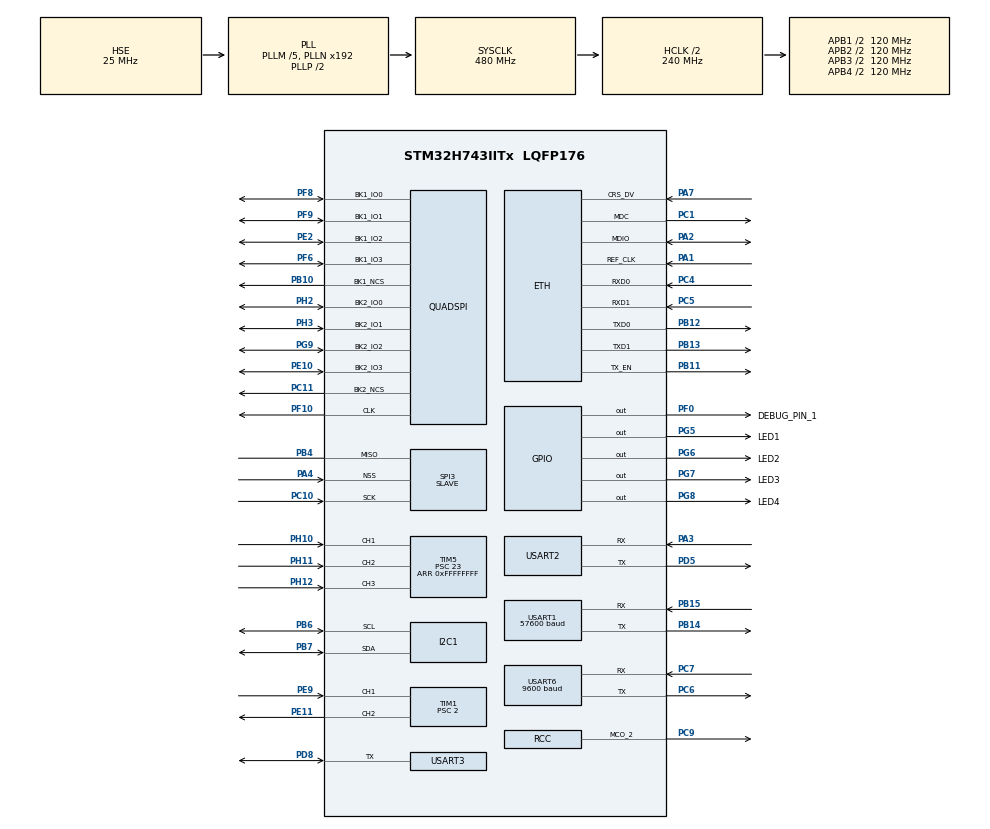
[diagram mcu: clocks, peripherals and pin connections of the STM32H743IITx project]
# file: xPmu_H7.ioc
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CORTEX_M7.AccessPermission-Cortex_Memory_Protection_Unit_Region0_Settings=MPU_REGION_FULL_ACCESS
CORTEX_M7.AccessPermission-Cortex_Memory_Protection_Unit_Region1_Settings=MPU_REGION_FULL_ACCESS
CORTEX_M7.AccessPermission-Cortex_Memory_Protection_Unit_Region2_Settings=MPU_REGION_FULL_ACCESS
CORTEX_M7.BaseAddress-Cortex_Memory_Protection_Unit_Region0_Settings=0x30040000
CORTEX_M7.BaseAddress-Cortex_Memory_Protection_Unit_Region1_Settings=0x30044000
CORTEX_M7.BaseAddress-Cortex_Memory_Protection_Unit_Region2_Settings=0x30040000
CORTEX_M7.CPU_DCache=Enabled
CORTEX_M7.CPU_ICache=Enabled
CORTEX_M7.Enable-Cortex_Memory_Protection_Unit_Region0_Settings=MPU_REGION_ENABLE
CORTEX_M7.Enable-Cortex_Memory_Protection_Unit_Region1_Settings=MPU_REGION_ENABLE
CORTEX_M7.Enable-Cortex_Memory_Protection_Unit_Region2_Settings=MPU_REGION_ENABLE
CORTEX_M7.IsBufferable-Cortex_Memory_Protection_Unit_Region2_Settings=MPU_ACCESS_BUFFERABLE
CORTEX_M7.IsCacheable-Cortex_Memory_Protection_Unit_Region1_Settings=MPU_ACCESS_CACHEABLE
CORTEX_M7.IsCacheable-Cortex_Memory_Protection_Unit_Region2_Settings=MPU_ACCESS_NOT_CACHEABLE
CORTEX_M7.MPU_Control=MPU_PRIVILEGED_DEFAULT
CORTEX_M7.Size-Cortex_Memory_Protection_Unit_Region0_Settings=MPU_REGION_SIZE_16KB
CORTEX_M7.Size-Cortex_Memory_Protection_Unit_Region1_Settings=MPU_REGION_SIZE_16KB
CORTEX_M7.Size-Cortex_Memory_Protection_Unit_Region2_Settings=MPU_REGION_SIZE_256B
CORTEX_M7.TypeExtField-Cortex_Memory_Protection_Unit_Region0_Settings=MPU_TEX_LEVEL1
Dma.Request0=SPI3_RX
Dma.SPI3_RX.0.Direction=DMA_PERIPH_TO_MEMORY
Dma.SPI3_RX.0.EventEnable=DISABLE
Dma.SPI3_RX.0.FIFOMode=DMA_FIFOMODE_DISABLE
Dma.SPI3_RX.0.Instance=DMA1_Stream0
Dma.SPI3_RX.0.MemDataAlignment=DMA_MDATAALIGN_HALFWORD
Dma.SPI3_RX.0.MemInc=DMA_MINC_ENABLE
Dma.SPI3_RX.0.Mode=DMA_CIRCULAR
Dma.SPI3_RX.0.PeriphDataAlignment=DMA_PDATAALIGN_HALFWORD
Dma.SPI3_RX.0.PeriphInc=DMA_PINC_DISABLE
Dma.SPI3_RX.0.Polarity=HAL_DMAMUX_REQ_GEN_RISING
Dma.SPI3_RX.0.Priority=DMA_PRIORITY_LOW
Dma.SPI3_RX.0.RequestNumber=1
Dma.SPI3_RX.0.SignalID=NONE
Dma.SPI3_RX.0.SyncEnable=DISABLE
Dma.SPI3_RX.0.SyncPolarity=HAL_DMAMUX_SYNC_NO_EVENT
Dma.SPI3_RX.0.SyncRequestNumber=1
Dma.SPI3_RX.0.SyncSignalID=NONE
ETH.MACAddr=6C\:4C\:AD\:6B\:48\:DC
ETH.MediaInterface=HAL_ETH_RMII_MODE
I2C1.Timing=0x307075B1
LWIP.BSP.number=1
LWIP.CHECKSUM_BY_HARDWARE=1
LWIP.CMSIS_VERSION-Enabled=1
LWIP.GATEWAY_ADDRESS=192.168.001.001
LWIP.IP_ADDRESS=192.168.001.150
LWIP.LWIP_DHCP=1
LWIP.LWIP_NETIF_LOOPBACK=0
LWIP.MEM_SIZE=4800
LWIP.NETMASK_ADDRESS=255.255.255.000
LWIP.Version=v2.1.2_Cube
LWIP0.BSP.STBoard=false
LWIP0.BSP.api=BSP_COMPONENT_DRIVER
LWIP0.BSP.component=LAN8742
LWIP0.BSP.i2caddr=0
LWIP0.BSP.instance=LAN8742
LWIP0.BSP.name=Driver_PHY
LWIP0.BSP.solution=LAN8742
Mcu.Family=STM32H7
Mcu.Name=STM32H743IITx
Mcu.Package=LQFP176
NVIC.DMA1_Stream0_IRQn=true\:0\:0\:false\:false\:true\:false\:true
NVIC.ETH_IRQn=true\:0\:0\:false\:false\:true\:true\:true
NVIC.PriorityGroup=NVIC_PRIORITYGROUP_4
NVIC.SPI3_IRQn=true\:0\:0\:false\:false\:true\:false\:true
NVIC.TIM5_IRQn=true\:0\:0\:false\:false\:true\:true\:true
NVIC.TIM7_IRQn=true\:0\:0\:false\:false\:true\:false\:true
NVIC.TimeBase=TIM7_IRQn
NVIC.TimeBaseIP=TIM7
PA1.GPIO_Speed=GPIO_SPEED_FREQ_VERY_HIGH
PA1.Mode=RMII
PA1.Signal=ETH_REF_CLK
PA13\ (JTMS/SWDIO).Mode=Trace_Asynchronous_SW
PA13\ (JTMS/SWDIO).Signal=DEBUG_JTMS-SWDIO
PA14\ (JTCK/SWCLK).Mode=Trace_Asynchronous_SW
PA14\ (JTCK/SWCLK).Signal=DEBUG_JTCK-SWCLK
PA2.GPIO_Speed=GPIO_SPEED_FREQ_VERY_HIGH
PA2.Mode=RMII
PA2.Signal=ETH_MDIO
PA3.Mode=Asynchronous
PA3.Signal=USART2_RX
PA4.Mode=NSS_Signal_Hard_Input
PA4.Signal=SPI3_NSS
PA7.GPIO_Speed=GPIO_SPEED_FREQ_VERY_HIGH
PA7.Mode=RMII
PA7.Signal=ETH_CRS_DV
PB10.Mode=Enable Chip Select for each bank
PB10.Signal=QUADSPI_BK1_NCS
PB11.GPIO_Speed=GPIO_SPEED_FREQ_VERY_HIGH
PB11.Mode=RMII
PB11.Signal=ETH_TX_EN
PB12.GPIO_Speed=GPIO_SPEED_FREQ_VERY_HIGH
PB12.Mode=RMII
PB12.Signal=ETH_TXD0
PB13.GPIO_Speed=GPIO_SPEED_FREQ_VERY_HIGH
PB13.Mode=RMII
PB13.Signal=ETH_TXD1
PB14.Mode=Asynchronous
PB14.Signal=USART1_TX
PB15.Mode=Asynchronous
PB15.Signal=USART1_RX
PB3\ (JTDO/TRACESWO).Mode=Trace_Asynchronous_SW
PB3\ (JTDO/TRACESWO).Signal=DEBUG_JTDO-SWO
PB4\ (NJTRST).Mode=Simplex_Bidirectional_Slave
PB4\ (NJTRST).Signal=SPI3_MISO
PB6.Mode=I2C
PB6.Signal=I2C1_SCL
PB7.Mode=I2C
PB7.Signal=I2C1_SDA
PC1.GPIO_Speed=GPIO_SPEED_FREQ_VERY_HIGH
PC1.Mode=RMII
PC1.Signal=ETH_MDC
PC10.Mode=Simplex_Bidirectional_Slave
PC10.Signal=SPI3_SCK
PC11.Mode=Enable Chip Select for each bank
PC11.Signal=QUADSPI_BK2_NCS
PC4.GPIO_Speed=GPIO_SPEED_FREQ_VERY_HIGH
PC4.Mode=RMII
PC4.Signal=ETH_RXD0
PC5.GPIO_Speed=GPIO_SPEED_FREQ_VERY_HIGH
PC5.Mode=RMII
PC5.Signal=ETH_RXD1
PC6.Mode=Asynchronous
PC6.Signal=USART6_TX
PC7.Mode=Asynchronous
PC7.Signal=USART6_RX
PC9.GPIO_Speed=GPIO_SPEED_FREQ_VERY_HIGH
PC9.Mode=Clock-out-2
PC9.Signal=RCC_MCO_2
PD5.Mode=Asynchronous
PD5.Signal=USART2_TX
PD8.Mode=Half_duplex(single_wire_mode)
PD8.Signal=USART3_TX
PE10.Mode=Dual_Bank
PE10.Signal=QUADSPI_BK2_IO3
PE11.Signal=S_TIM1_CH2
PE2.Mode=Dual_Bank
PE2.Signal=QUADSPI_BK1_IO2
PE9.Signal=S_TIM1_CH1
PF0.GPIO_Label=DEBUG_PIN_1
PF0.GPIO_Speed=GPIO_SPEED_FREQ_VERY_HIGH
PF0.Signal=GPIO_Output
PF10.Mode=Dual_Bank
PF10.Signal=QUADSPI_CLK
PF6.Mode=Dual_Bank
PF6.Signal=QUADSPI_BK1_IO3
PF8.Mode=Dual_Bank
PF8.Signal=QUADSPI_BK1_IO0
PF9.Mode=Dual_Bank
PF9.Signal=QUADSPI_BK1_IO1
PG5.GPIO_Label=LED1
PG5.Signal=GPIO_Output
PG6.GPIO_Label=LED2
PG6.Signal=GPIO_Output
PG7.GPIO_Label=LED3
PG7.Signal=GPIO_Output
PG8.GPIO_Label=LED4
PG8.Signal=GPIO_Output
PG9.Mode=Dual_Bank
PG9.Signal=QUADSPI_BK2_IO2
PH0-OSC_IN\ (PH0).Mode=HSE-External-Oscillator
PH0-OSC_IN\ (PH0).Signal=RCC_OSC_IN
PH1-OSC_OUT\ (PH1).Mode=HSE-External-Oscillator
PH1-OSC_OUT\ (PH1).Signal=RCC_OSC_OUT
PH10.Signal=S_TIM5_CH1
PH11.Signal=S_TIM5_CH2
PH12.Signal=S_TIM5_CH3
PH2.Mode=Dual_Bank
PH2.Signal=QUADSPI_BK2_IO0
PH3.Mode=Dual_Bank
PH3.Signal=QUADSPI_BK2_IO1
ProjectManager.HeapSize=0x1000
ProjectManager.StackSize=0x2000
ProjectManager.TargetToolchain=STM32CubeIDE
RCC.ADCFreq_Value=50000000
RCC.APB1Freq_Value=120000000
RCC.APB2Freq_Value=120000000
RCC.APB3Freq_Value=120000000
RCC.APB4Freq_Value=120000000
RCC.CortexFreq_Value=480000000
RCC.D1PPRE=RCC_APB3_DIV2
RCC.D2PPRE1=RCC_APB1_DIV2
RCC.D2PPRE2=RCC_APB2_DIV2
RCC.D3PPRE=RCC_APB4_DIV2
RCC.DIVM1=5
RCC.DIVM2=5
RCC.DIVN1=192
RCC.DIVN2=100
RCC.DIVP2=10
RCC.DIVQ2=4
RCC.DIVR2=8
RCC.HCLKFreq_Value=240000000
RCC.HPRE=RCC_HCLK_DIV2
RCC.PLL2FRACN=0
RCC.PLL3FRACN=0
RCC.PLLFRACN=0
RCC.PLLSourceVirtual=RCC_PLLSOURCE_HSE
RCC.RCC_MCO1Source=RCC_MCO1SOURCE_PLL1QCLK
RCC.RCC_MCO2Source=RCC_MCO2SOURCE_PLL2PCLK
RCC.SYSCLKFreq_VALUE=480000000
RCC.SYSCLKSource=RCC_SYSCLKSOURCE_PLLCLK
RCC.USART234578CLockSelection=RCC_USART234578CLKSOURCE_PLL2
RCC.USBFreq_Value=480000000
SH.S_TIM1_CH1.0=TIM1_CH1,TriggerSource_TI1FP1
SH.S_TIM1_CH1.1=TIM1_CH1,Input_Capture1_from_TI1
SH.S_TIM1_CH2.0=TIM1_CH2,PWM Generation2 CH2
SH.S_TIM5_CH1.0=TIM5_CH1,Input_Capture1_from_TI1
SH.S_TIM5_CH1.1=TIM5_CH1,TriggerSource_TI1FP1
SH.S_TIM5_CH2.0=TIM5_CH2,Input_Capture2_from_TI2
SH.S_TIM5_CH3.0=TIM5_CH3,Input_Capture3_from_TI3
SPI3.CLKPolarity=SPI_POLARITY_HIGH
SPI3.DataSize=SPI_DATASIZE_16BIT
SPI3.Direction=SPI_DIRECTION_1LINE
SPI3.Mode=SPI_MODE_SLAVE
SPI3.VirtualNSS=VM_NSSHARD
SPI3.VirtualType=VM_SLAVE
TIM1.Channel-Input_Capture1_from_TI1=TIM_CHANNEL_1
TIM1.Channel-PWM\ Generation2\ CH2=TIM_CHANNEL_2
TIM1.ICFilter_CH1=6
TIM1.OCIdleState_2=TIM_OCIDLESTATE_SET
TIM1.OCPolarity_2=TIM_OCPOLARITY_LOW
TIM1.Period=0xFFFF
TIM1.Prescaler=2
TIM1.Pulse-PWM\ Generation2\ CH2=2500
TIM5.Channel-Input_Capture1_from_TI1=TIM_CHANNEL_1
TIM5.Channel-Input_Capture2_from_TI2=TIM_CHANNEL_2
TIM5.Channel-Input_Capture3_from_TI3=TIM_CHANNEL_3
TIM5.Period=0xFFFFFFFF
TIM5.Prescaler=23
USART1.BaudRate=57600
USART1.VirtualMode-Asynchronous=VM_ASYNC
USART2.VirtualMode-Asynchronous=VM_ASYNC
USART3.VirtualMode-Half_duplex(single_wire_mode)=VM_ASYNC
USART6.BaudRate=9600
USART6.VirtualMode-Asynchronous=VM_ASYNC
VP_LWIP_VS_Enabled.Mode=Enabled
VP_SYS_VS_tim7.Mode=TIM7
VP_TIM1_VS_ClockSourceINT.Mode=Internal
VP_TIM1_VS_ControllerModeReset.Mode=Reset Mode
VP_TIM5_VS_ClockSourceINT.Mode=Internal
VP_TIM5_VS_ControllerModeReset.Mode=Reset Mode
board=custom

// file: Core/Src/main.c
/* USER CODE BEGIN Header */
/**
  ******************************************************************************
  * @file           : main.c
  * @brief          : Main program body
  ******************************************************************************
  * @attention
  *
  * <h2><center>&copy; Copyright (c) 2020 STMicroelectronics.
  * All rights reserved.</center></h2>
  *
  * This software component is licensed by ST under BSD 3-Clause license,
  * the "License"; You may not use this file except in compliance with the
  * License. You may obtain a copy of the License at:
  *                        opensource.org/licenses/BSD-3-Clause
  *
  ******************************************************************************
  */
/* USER CODE END Header */
#include "main.h"
#include "dma.h"
#include "i2c.h"
#include "lwip.h"
#include "quadspi.h"
#include "spi.h"
#include "tim.h"
#include "usart.h"
#include "gpio.h"

/* USER CODE BEGIN Includes */
#include "les_algorithm.h"

#include "decimation_filter.h"
#include "deci_filter_correction_header.h"

#include <string.h>
/* USER CODE END Includes */

/* USER CODE BEGIN PV */

// ADC DMA Circular buffer
#define DMA_SAMPLE_BUFFER_LENGTH (16*8)
uint32_t adc_dma_buffer[DMA_SAMPLE_BUFFER_LENGTH] __attribute__((section(".AdcDmaBufSection"))); // Note this must be aligned on a 32byte boundary so we can invalidate the cache lines.

// ADC Main Circular Buffer
#define MAIN_SAMPLE_BUFFER_LENGTH (2048) // samples - 32bit ints
int32_t main_sample_buffer[8][MAIN_SAMPLE_BUFFER_LENGTH];// __attribute__((section(".ccmram-samplebuffer"))) ;

volatile uint32_t main_sample_buffer_head = 0;

volatile uint8_t f_buffer_loop = 0;
volatile uint8_t f_run_main_loop = 0;
volatile uint8_t f_reporting_cycle = 0;

volatile int32_t les_count = 0;
les_fundamental_output_t les_fundamental_output;
les_harmonics_output_t les_harmonics_output;

struct udp_pcb* upcb;

volatile uint32_t pps_timer_capture = 0;

/* USER CODE END PV */

void SystemClock_Config(void);
static void MPU_Config(void);

/* USER CODE BEGIN 0 */
extern ETH_HandleTypeDef heth;

void start_adc_dma_reception(void){

	// wait to go low
	while((GPIOA->IDR & GPIO_PIN_4))
		  ;
	HAL_GPIO_WritePin(DEBUG_PIN_1_GPIO_Port, DEBUG_PIN_1_Pin,SET);

	// wait to go high again
	while(!(GPIOA->IDR & GPIO_PIN_4))
		  ;
	HAL_GPIO_WritePin(DEBUG_PIN_1_GPIO_Port, DEBUG_PIN_1_Pin,RESET);

	  do {
		  hspi3.Instance->RXDR;
	  } while(__HAL_SPI_GET_FLAG(&hspi3, SPI_FLAG_RXNE) != RESET);

	HAL_SPI_Receive_DMA(&hspi3, (uint8_t*)adc_dma_buffer, 2*DMA_SAMPLE_BUFFER_LENGTH);
}

void dump_main_buffer(void){
	HAL_SPI_DMAStop(&hspi3);
	__NOP();
//	  uint8_t data[128];
//	  char* ptr = (char*)(data);
//	  for(int a = 0; a <sizeof(data); a++)
//		  ptr[a] = a;

	struct pbuf* p;

	uint16_t sample_size = MAIN_SAMPLE_BUFFER_LENGTH * sizeof(int32_t);
	uint16_t no_transmits = sample_size / 1024;

	uint8_t startMsg[] = {0xFF, 0xAA};
	uint8_t stopMsg[] = {0x55, 0x55};

	// Send the start sequence
	p = pbuf_alloc(PBUF_TRANSPORT, 2, PBUF_RAM);
	memcpy(p->payload, &startMsg, 2);
	udp_send(upcb, p);
	pbuf_free(p);

	// Send the main data
	for(int i = 0; i < no_transmits; i++){
		p = pbuf_alloc(PBUF_TRANSPORT, 1024, PBUF_RAM);
		memcpy(p->payload, ((uint8_t*)(main_sample_buffer[5])) + i*1024, 1024);
		udp_send(upcb, p);
		pbuf_free(p);
	}

	// Send the end sequence
	p = pbuf_alloc(PBUF_TRANSPORT, 2, PBUF_RAM);
	memcpy(p->payload, &stopMsg, 2);
	udp_send(upcb, p);
	pbuf_free(p);

	start_adc_dma_reception();
}

void cpy_buffer_int32(uint8_t* buffer, int32_t value){
	buffer[0] = (value >> 24) & 0xFF;
	buffer[1] = (value >> 16) & 0xFF;
	buffer[2] = (value >> 8) & 0xFF;
	buffer[3] = value & 0xFF;
}

void send_les_value(les_fundamental_output_t *fundamental_value, les_harmonics_output_t* harmonics_value){
	struct pbuf* p;

	uint8_t buffer[12 + 32];
	cpy_buffer_int32(buffer, fundamental_value->frequency);
	cpy_buffer_int32(buffer+4, fundamental_value->fundamental_mag[0]);
	cpy_buffer_int32(buffer+8, fundamental_value->phase[0]);

	for(uint8_t i=0; i<8; i++){
		cpy_buffer_int32(buffer+12+(4*i), harmonics_value->harmonic_mag[i]);
	}

	p = pbuf_alloc(PBUF_TRANSPORT, sizeof(buffer), PBUF_RAM);
	memcpy(p->payload, buffer, sizeof(buffer));
	udp_send(upcb, p);
	pbuf_free(p);

}

void HAL_TIM_IC_CaptureCallback(TIM_HandleTypeDef *htim){
	if(htim == &htim5){
		pps_timer_capture = htim5.Instance->CCR1;
	}
}

/* USER CODE END 0 */

int main(void)
{

  /* MPU Configuration--------------------------------------------------------*/
  MPU_Config();

  /* Enable I-Cache---------------------------------------------------------*/
  SCB_EnableICache();

  /* Enable D-Cache---------------------------------------------------------*/
  SCB_EnableDCache();

  /* MCU Configuration--------------------------------------------------------*/

  /* Reset of all peripherals, Initializes the Flash interface and the Systick. */
  HAL_Init();

  /* Configure the system clock */
  SystemClock_Config();

  /* USER CODE BEGIN SysInit */
  __HAL_RCC_PLL2_DISABLE();
  __HAL_RCC_PLL2CLKOUT_ENABLE(RCC_PLL2_DIVP);
  __HAL_RCC_PLL2_ENABLE();
  HAL_Delay(100);

  /* USER CODE END SysInit */

  /* Initialize all configured peripherals */
  MX_GPIO_Init();
  MX_DMA_Init();
  MX_TIM1_Init();
  MX_TIM5_Init();
  MX_QUADSPI_Init();
  MX_SPI3_Init();
  MX_USART1_UART_Init();
  MX_USART2_UART_Init();
  MX_USART3_UART_Init();
  MX_I2C1_Init();
  MX_USART6_UART_Init();
  MX_LWIP_Init();
  /* USER CODE BEGIN 2 */
//  ETH_MACFilterConfigTypeDef filterConfig;
//  HAL_ETH_GetMACFilterConfig(&heth, &filterConfig);
//  filterConfig.BroadcastFilter = DISABLE;
//  filterConfig.PromiscuousMode = ENABLE;
//  HAL_ETH_SetMACFilterConfig(&heth, &filterConfig);
//  HAL_ETH_GetMACFilterConfig(&heth, &filterConfig);

// From the timer testing
  HAL_TIM_PWM_Start(&htim1,TIM_CHANNEL_2);
  htim1.Instance->CCER |= 0x0001; // Set the CC1E Bit

  HAL_TIM_IC_Start_IT(&htim5, TIM_CHANNEL_1);

  /* USER CODE END 2 */

  /* Infinite loop */
  /* USER CODE BEGIN WHILE */

  HAL_Delay(10);
  start_adc_dma_reception();

  /* USER CODE END 2 */

  /* Infinite loop */
  /* USER CODE BEGIN WHILE */

  // Allocate the pcb for the UDP transfers.
  	upcb = udp_new();
	ip_addr_t destAddr;
	IP4_ADDR(&destAddr, 192, 168, 1, 99);
	uint16_t destprt = 60001;

	udp_connect(upcb, &destAddr, destprt);

  // Initialise the LES filters
  les_init();

//  uint16_t buffer_count = 0;
  while (1)
  {
		MX_LWIP_Process();

//		if(f_buffer_loop){
//			f_buffer_loop = 0;
//			buffer_count++;
//			if(buffer_count > 10){
//				dump_main_buffer();
//				buffer_count = 0;
//			}
//		}
		/* The LES algorithm */
		if(f_run_main_loop){
			f_run_main_loop = 0;

			if(f_reporting_cycle){

				HAL_GPIO_WritePin(DEBUG_PIN_1_GPIO_Port, DEBUG_PIN_1_Pin, RESET);

				if(les_calculate_harmonics(&les_harmonics_output)){
					__NOP();
					// Need to ignore the output since it wasn't calculated.
				}

				// Correct for attenuation through the biquad filters
				for(uint8_t i=0; i<8; i++){
					les_harmonics_output.harmonic_mag[i] = deci_correct_harmonic_mag(les_harmonics_output.harmonic_mag[i], i+1);
				}
				les_fundamental_output.fundamental_mag[0] = deci_correct_harmonic_mag(les_fundamental_output.fundamental_mag[0], 0);

				send_les_value(&les_fundamental_output, &les_harmonics_output);

				HAL_GPIO_WritePin(DEBUG_PIN_1_GPIO_Port, DEBUG_PIN_1_Pin, SET);
			}

		}

    /* USER CODE END WHILE */

  }
}

void SystemClock_Config(void)
{
  RCC_OscInitTypeDef RCC_OscInitStruct = {0};
  RCC_ClkInitTypeDef RCC_ClkInitStruct = {0};
  RCC_PeriphCLKInitTypeDef PeriphClkInitStruct = {0};

  /** Supply configuration update enable
  */
  HAL_PWREx_ConfigSupply(PWR_LDO_SUPPLY);
  /** Configure the main internal regulator output voltage
  */
  __HAL_PWR_VOLTAGESCALING_CONFIG(PWR_REGULATOR_VOLTAGE_SCALE0);

  while(!__HAL_PWR_GET_FLAG(PWR_FLAG_VOSRDY)) {}
  /** Macro to configure the PLL clock source
  */
  __HAL_RCC_PLL_PLLSOURCE_CONFIG(RCC_PLLSOURCE_HSE);
  /** Initializes the RCC Oscillators according to the specified parameters
  * in the RCC_OscInitTypeDef structure.
  */
  RCC_OscInitStruct.OscillatorType = RCC_OSCILLATORTYPE_HSE;
  RCC_OscInitStruct.HSEState = RCC_HSE_ON;
  RCC_OscInitStruct.PLL.PLLState = RCC_PLL_ON;
  RCC_OscInitStruct.PLL.PLLSource = RCC_PLLSOURCE_HSE;
  RCC_OscInitStruct.PLL.PLLM = 5;
  RCC_OscInitStruct.PLL.PLLN = 192;
  RCC_OscInitStruct.PLL.PLLP = 2;
  RCC_OscInitStruct.PLL.PLLQ = 2;
  RCC_OscInitStruct.PLL.PLLR = 2;
  RCC_OscInitStruct.PLL.PLLRGE = RCC_PLL1VCIRANGE_2;
  RCC_OscInitStruct.PLL.PLLVCOSEL = RCC_PLL1VCOWIDE;
  RCC_OscInitStruct.PLL.PLLFRACN = 0;
  if (HAL_RCC_OscConfig(&RCC_OscInitStruct) != HAL_OK)
  {
    Error_Handler();
  }
  /** Initializes the CPU, AHB and APB buses clocks
  */
  RCC_ClkInitStruct.ClockType = RCC_CLOCKTYPE_HCLK|RCC_CLOCKTYPE_SYSCLK
                              |RCC_CLOCKTYPE_PCLK1|RCC_CLOCKTYPE_PCLK2
                              |RCC_CLOCKTYPE_D3PCLK1|RCC_CLOCKTYPE_D1PCLK1;
  RCC_ClkInitStruct.SYSCLKSource = RCC_SYSCLKSOURCE_PLLCLK;
  RCC_ClkInitStruct.SYSCLKDivider = RCC_SYSCLK_DIV1;
  RCC_ClkInitStruct.AHBCLKDivider = RCC_HCLK_DIV2;
  RCC_ClkInitStruct.APB3CLKDivider = RCC_APB3_DIV2;
  RCC_ClkInitStruct.APB1CLKDivider = RCC_APB1_DIV2;
  RCC_ClkInitStruct.APB2CLKDivider = RCC_APB2_DIV2;
  RCC_ClkInitStruct.APB4CLKDivider = RCC_APB4_DIV2;

  if (HAL_RCC_ClockConfig(&RCC_ClkInitStruct, FLASH_LATENCY_4) != HAL_OK)
  {
    Error_Handler();
  }
  PeriphClkInitStruct.PeriphClockSelection = RCC_PERIPHCLK_USART3|RCC_PERIPHCLK_USART2
                              |RCC_PERIPHCLK_USART6|RCC_PERIPHCLK_USART1
                              |RCC_PERIPHCLK_SPI3|RCC_PERIPHCLK_I2C1
                              |RCC_PERIPHCLK_QSPI;
  PeriphClkInitStruct.PLL2.PLL2M = 5;
  PeriphClkInitStruct.PLL2.PLL2N = 100;
  PeriphClkInitStruct.PLL2.PLL2P = 10;
  PeriphClkInitStruct.PLL2.PLL2Q = 4;
  PeriphClkInitStruct.PLL2.PLL2R = 8;
  PeriphClkInitStruct.PLL2.PLL2RGE = RCC_PLL2VCIRANGE_2;
  PeriphClkInitStruct.PLL2.PLL2VCOSEL = RCC_PLL2VCOWIDE;
  PeriphClkInitStruct.PLL2.PLL2FRACN = 0;
  PeriphClkInitStruct.QspiClockSelection = RCC_QSPICLKSOURCE_D1HCLK;
  PeriphClkInitStruct.Spi123ClockSelection = RCC_SPI123CLKSOURCE_PLL;
  PeriphClkInitStruct.Usart234578ClockSelection = RCC_USART234578CLKSOURCE_PLL2;
  PeriphClkInitStruct.Usart16ClockSelection = RCC_USART16CLKSOURCE_D2PCLK2;
  PeriphClkInitStruct.I2c123ClockSelection = RCC_I2C123CLKSOURCE_D2PCLK1;
  if (HAL_RCCEx_PeriphCLKConfig(&PeriphClkInitStruct) != HAL_OK)
  {
    Error_Handler();
  }
  HAL_RCC_MCOConfig(RCC_MCO2, RCC_MCO2SOURCE_PLL2PCLK, RCC_MCODIV_1);
}

/* USER CODE BEGIN 4 */

void inc_main_buffer_head(void){
	main_sample_buffer_head++;
	if(main_sample_buffer_head >= MAIN_SAMPLE_BUFFER_LENGTH){
		main_sample_buffer_head = 0;
		f_buffer_loop = 1;
	}
}

void transfer_samples_to_main_buffer(uint32_t* dma_buffer){
	int32_t tmp;
	int32_t decimated_samples[3][8];

	// transfer the first set of samples into the main buffer
	for(int j = 0; j < 8; j++){ // j is the sample number
		for(int i = 0; i < 8; i++){ // i is the channel
			// Transfer from DMA buffer
			tmp = dma_buffer[i+(8*j)];
			tmp = ((tmp & 0x0000FFFF) << 16) | ((tmp & 0xFFFF0000) >> 16); // Swap upper and lower 16bit words
			tmp = (tmp << 8) >> 8; // Remove the CRC byte and sign extend the result

			main_sample_buffer[i][main_sample_buffer_head] = tmp; // Store into main buffer

			// Channels 5, 6 & 7 are L1, L2 & L3 respectively
			if(i >= 5){
				uint8_t deci_channel = i - 5;
				decimated_samples[deci_channel][j] = filter_sample(tmp, deci_channel);

				if(j == 7){
					// this will be the latest set of samples
					les_set_sample_buffer_value(deci_channel, decimated_samples[deci_channel][j]);
				}
			}

		}

		inc_main_buffer_head();
	}
	les_inc_buffer_head();

	les_count++;

//	// Work out if it's going to be an reporting cycle or not, as the magnitude needs to be calculate for this step.
	f_reporting_cycle = (les_count % 32 == 0) ? 1 : 0;

	run_les(f_reporting_cycle, &les_fundamental_output);

	f_run_main_loop = 1;
}

void HAL_SPI_RxCpltCallback(SPI_HandleTypeDef *hspi)
{
    SCB_InvalidateDCache_by_Addr((uint32_t *)(adc_dma_buffer + (DMA_SAMPLE_BUFFER_LENGTH >> 1)), DMA_SAMPLE_BUFFER_LENGTH << 1);
	transfer_samples_to_main_buffer(adc_dma_buffer + (DMA_SAMPLE_BUFFER_LENGTH >> 1));
}

void HAL_SPI_RxHalfCpltCallback(SPI_HandleTypeDef *hspi)
{
	// The main sample buffer length is in 32b words, and we want to invalidate half of it, so multiply by 4, divide by 2 == << 1.
    SCB_InvalidateDCache_by_Addr((uint32_t *)adc_dma_buffer, DMA_SAMPLE_BUFFER_LENGTH << 1);
	transfer_samples_to_main_buffer(adc_dma_buffer);
}

/* USER CODE END 4 */

/* MPU Configuration */

void MPU_Config(void)
{
  MPU_Region_InitTypeDef MPU_InitStruct = {0};

  /* Disables the MPU */
  HAL_MPU_Disable();
  /** Initializes and configures the Region and the memory to be protected
  */
  MPU_InitStruct.Enable = MPU_REGION_ENABLE;
  MPU_InitStruct.Number = MPU_REGION_NUMBER0;
  MPU_InitStruct.BaseAddress = 0x30040000;
  MPU_InitStruct.Size = MPU_REGION_SIZE_16KB;
  MPU_InitStruct.SubRegionDisable = 0x0;
  MPU_InitStruct.TypeExtField = MPU_TEX_LEVEL1;
  MPU_InitStruct.AccessPermission = MPU_REGION_FULL_ACCESS;
  MPU_InitStruct.DisableExec = MPU_INSTRUCTION_ACCESS_ENABLE;
  MPU_InitStruct.IsShareable = MPU_ACCESS_NOT_SHAREABLE;
  MPU_InitStruct.IsCacheable = MPU_ACCESS_NOT_CACHEABLE;
  MPU_InitStruct.IsBufferable = MPU_ACCESS_NOT_BUFFERABLE;

  HAL_MPU_ConfigRegion(&MPU_InitStruct);
  /** Initializes and configures the Region and the memory to be protected
  */
  MPU_InitStruct.Enable = MPU_REGION_ENABLE;
  MPU_InitStruct.Number = MPU_REGION_NUMBER1;
  MPU_InitStruct.BaseAddress = 0x30044000;
  MPU_InitStruct.Size = MPU_REGION_SIZE_16KB;
  MPU_InitStruct.SubRegionDisable = 0x0;
  MPU_InitStruct.TypeExtField = MPU_TEX_LEVEL0;
  MPU_InitStruct.AccessPermission = MPU_REGION_FULL_ACCESS;
  MPU_InitStruct.DisableExec = MPU_INSTRUCTION_ACCESS_ENABLE;
  MPU_InitStruct.IsShareable = MPU_ACCESS_NOT_SHAREABLE;
  MPU_InitStruct.IsCacheable = MPU_ACCESS_CACHEABLE;
  MPU_InitStruct.IsBufferable = MPU_ACCESS_NOT_BUFFERABLE;

  HAL_MPU_ConfigRegion(&MPU_InitStruct);
  /** Initializes and configures the Region and the memory to be protected
  */
  MPU_InitStruct.Enable = MPU_REGION_ENABLE;
  MPU_InitStruct.Number = MPU_REGION_NUMBER2;
  MPU_InitStruct.BaseAddress = 0x30040000;
  MPU_InitStruct.Size = MPU_REGION_SIZE_256B;
  MPU_InitStruct.SubRegionDisable = 0x0;
  MPU_InitStruct.TypeExtField = MPU_TEX_LEVEL0;
  MPU_InitStruct.AccessPermission = MPU_REGION_FULL_ACCESS;
  MPU_InitStruct.DisableExec = MPU_INSTRUCTION_ACCESS_ENABLE;
  MPU_InitStruct.IsShareable = MPU_ACCESS_NOT_SHAREABLE;
  MPU_InitStruct.IsCacheable = MPU_ACCESS_NOT_CACHEABLE;
  MPU_InitStruct.IsBufferable = MPU_ACCESS_BUFFERABLE;

  HAL_MPU_ConfigRegion(&MPU_InitStruct);
  /* Enables the MPU */
  HAL_MPU_Enable(MPU_PRIVILEGED_DEFAULT);

}
void HAL_TIM_PeriodElapsedCallback(TIM_HandleTypeDef *htim)
{
  if (htim->Instance == TIM7) {
    HAL_IncTick();
  }
}

void Error_Handler(void)
{
}

/************************ (C) COPYRIGHT STMicroelectronics *****END OF FILE****/
